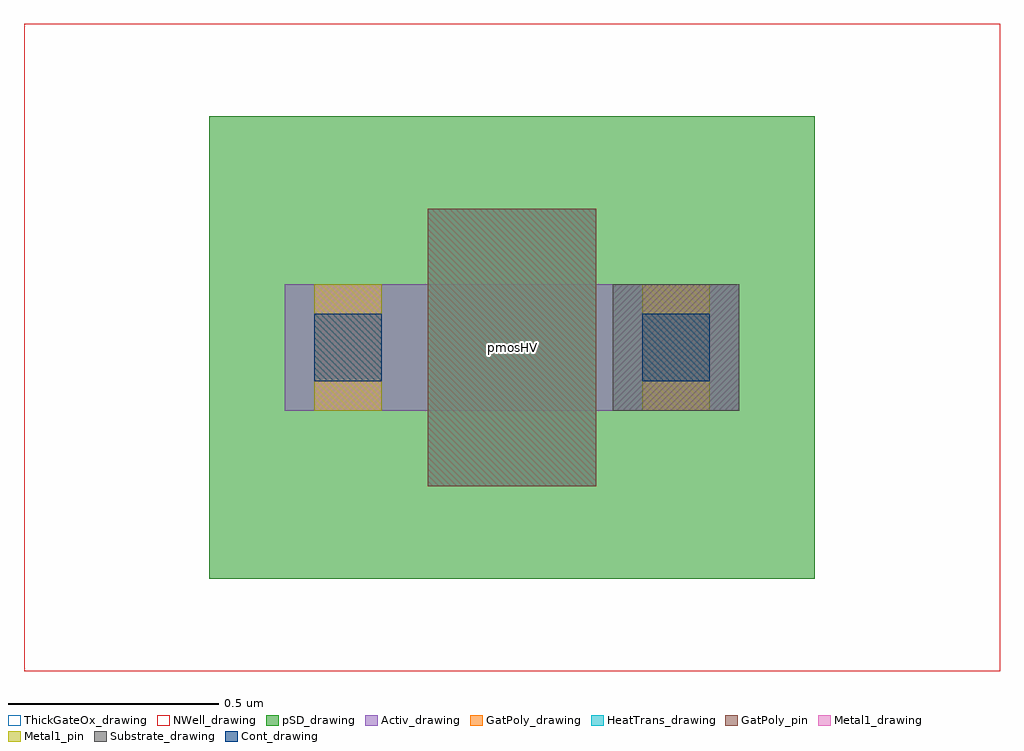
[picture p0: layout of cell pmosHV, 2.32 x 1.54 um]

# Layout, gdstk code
import gdstk
lib = gdstk.Library(unit=1e-6, precision=1e-09)
def R(c, l, rs):  # rectangles x0, y0, x1, y1
    for r in rs: c.add(gdstk.rectangle(r[:2], r[2:], *l))
Activ_drawing = (1, 0)
GatPoly_drawing = (5, 0)
GatPoly_pin = (5, 2)
Cont_drawing = (6, 0)
Metal1_drawing = (8, 0)
Metal1_pin = (8, 2)
pSD_drawing = (14, 0)
NWell_drawing = (31, 0)
Substrate_drawing = (40, 0)
ThickGateOx_drawing = (44, 0)
HeatTrans_drawing = (51, 0)

pmoshv = lib.new_cell('pmosHV')
R(pmoshv, Activ_drawing, [(0,0,1.08,0.3), (0,0,0.3,0.3), (0.78,0,1.08,0.3)])
R(pmoshv, GatPoly_drawing, [(0.34,-0.18,0.74,0.48)])
R(pmoshv, GatPoly_pin, [(0.34,-0.18,0.74,0.48)])
R(pmoshv, Cont_drawing, [(0.07,0.07,0.23,0.23), (0.85,0.07,1.01,0.23)])
R(pmoshv, Metal1_drawing, [(0.07,0,0.23,0.3), (0.85,0,1.01,0.3)])
R(pmoshv, Metal1_pin, [(0.07,0,0.23,0.3), (0.85,0,1.01,0.3)])
R(pmoshv, pSD_drawing, [(-0.18,-0.4,1.26,0.7)])
R(pmoshv, NWell_drawing, [(-0.62,-0.62,1.7,0.92)])
R(pmoshv, Substrate_drawing, [(0.78,0,1.08,0.3)])
R(pmoshv, ThickGateOx_drawing, [(-0.62,-0.62,1.7,0.92)])
R(pmoshv, HeatTrans_drawing, [(0.34,-0.18,0.74,0.48)])
pmoshv.add(gdstk.Label('pmosHV', (0.54,0.15), layer=63, texttype=0))
pmoshv.add(gdstk.Label('pmosHV', (0.54,0.15), layer=51, texttype=0))

lib.write_gds('pmosHV.gds')
